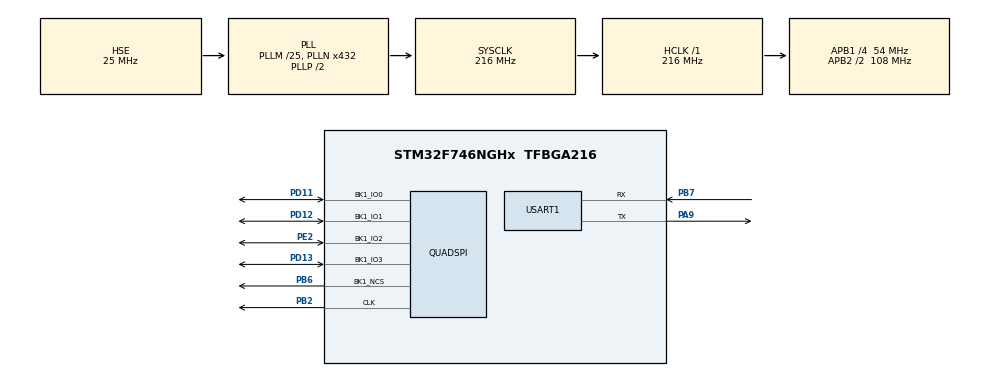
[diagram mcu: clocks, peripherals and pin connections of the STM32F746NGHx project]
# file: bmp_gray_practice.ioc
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CORTEX_M7.default_mode_Activation=1
Dma.Request0=USART1_RX
Dma.Request1=USART1_TX
Dma.USART1_RX.0.Direction=DMA_PERIPH_TO_MEMORY
Dma.USART1_RX.0.FIFOMode=DMA_FIFOMODE_DISABLE
Dma.USART1_RX.0.Instance=DMA2_Stream2
Dma.USART1_RX.0.MemDataAlignment=DMA_MDATAALIGN_BYTE
Dma.USART1_RX.0.MemInc=DMA_MINC_ENABLE
Dma.USART1_RX.0.Mode=DMA_CIRCULAR
Dma.USART1_RX.0.PeriphDataAlignment=DMA_PDATAALIGN_BYTE
Dma.USART1_RX.0.PeriphInc=DMA_PINC_DISABLE
Dma.USART1_RX.0.Priority=DMA_PRIORITY_LOW
Dma.USART1_TX.1.Direction=DMA_MEMORY_TO_PERIPH
Dma.USART1_TX.1.FIFOMode=DMA_FIFOMODE_DISABLE
Dma.USART1_TX.1.Instance=DMA2_Stream7
Dma.USART1_TX.1.MemDataAlignment=DMA_MDATAALIGN_BYTE
Dma.USART1_TX.1.MemInc=DMA_MINC_ENABLE
Dma.USART1_TX.1.Mode=DMA_NORMAL
Dma.USART1_TX.1.PeriphDataAlignment=DMA_PDATAALIGN_BYTE
Dma.USART1_TX.1.PeriphInc=DMA_PINC_DISABLE
Dma.USART1_TX.1.Priority=DMA_PRIORITY_LOW
Mcu.Family=STM32F7
Mcu.Name=STM32F746NGHx
Mcu.Package=TFBGA216
NVIC.DMA2_Stream2_IRQn=true\:0\:0\:false\:false\:true\:false\:true\:true
NVIC.DMA2_Stream7_IRQn=true\:0\:0\:false\:false\:true\:false\:true\:true
NVIC.PriorityGroup=NVIC_PRIORITYGROUP_4
NVIC.USART1_IRQn=true\:0\:0\:false\:false\:true\:true\:true\:true
PA13.Mode=Serial_Wire
PA13.Signal=SYS_JTMS-SWDIO
PA14.Mode=Serial_Wire
PA14.Signal=SYS_JTCK-SWCLK
PA9.Mode=Asynchronous
PA9.Signal=USART1_TX
PB2.Mode=Single Bank 1
PB2.Signal=QUADSPI_CLK
PB6.Mode=Single Bank 1
PB6.Signal=QUADSPI_BK1_NCS
PB7.Mode=Asynchronous
PB7.Signal=USART1_RX
PD11.Mode=Single Bank 1
PD11.Signal=QUADSPI_BK1_IO0
PD12.Mode=Single Bank 1
PD12.Signal=QUADSPI_BK1_IO1
PD13.Mode=Single Bank 1
PD13.Signal=QUADSPI_BK1_IO3
PE2.Mode=Single Bank 1
PE2.Signal=QUADSPI_BK1_IO2
PH0/OSC_IN.Mode=HSE-External-Oscillator
PH0/OSC_IN.Signal=RCC_OSC_IN
PH1/OSC_OUT.Mode=HSE-External-Oscillator
PH1/OSC_OUT.Signal=RCC_OSC_OUT
ProjectManager.HeapSize=0x200
ProjectManager.StackSize=0x400
ProjectManager.TargetToolchain=CMake
QUADSPI.ChipSelectHighTime=QSPI_CS_HIGH_TIME_8_CYCLE
QUADSPI.ClockPrescaler=26
QUADSPI.FifoThreshold=4
QUADSPI.FlashSize=23
QUADSPI.SampleShifting=QSPI_SAMPLE_SHIFTING_HALFCYCLE
RCC.AHBFreq_Value=216000000
RCC.APB1CLKDivider=RCC_HCLK_DIV4
RCC.APB1Freq_Value=54000000
RCC.APB1TimFreq_Value=108000000
RCC.APB2CLKDivider=RCC_HCLK_DIV2
RCC.APB2Freq_Value=108000000
RCC.APB2TimFreq_Value=216000000
RCC.CortexFreq_Value=216000000
RCC.HCLKFreq_Value=216000000
RCC.HSE_VALUE=25000000
RCC.HSI_VALUE=16000000
RCC.LSE_VALUE=32768
RCC.PLL48CLockSelection=RCC_CLK48SOURCE_PLLSAIP
RCC.PLLI2SN=100
RCC.PLLM=25
RCC.PLLN=432
RCC.PLLQ=9
RCC.PLLSAIN=384
RCC.PLLSAIP=RCC_PLLSAIP_DIV8
RCC.PLLSAIR=5
RCC.PLLSAIRDiv=RCC_PLLSAIDIVR_8
RCC.PLLSourceVirtual=RCC_PLLSOURCE_HSE
RCC.SDMMCClockSelection=RCC_SDMMC1CLKSOURCE_CLK48
RCC.SYSCLKFreq_VALUE=216000000
RCC.SYSCLKSource=RCC_SYSCLKSOURCE_PLLCLK
RCC.USBFreq_Value=48000000
RCC.VCOOutputFreq_Value=432000000
USART1.VirtualMode-Asynchronous=VM_ASYNC
board=STM32F746G-DISCO

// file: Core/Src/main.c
/* USER CODE BEGIN Header */
/**
  ******************************************************************************
  * @file           : main.c
  * @brief          : Main program body
  ******************************************************************************
  * @attention
  *
  * Copyright (c) 2026 STMicroelectronics.
  * All rights reserved.
  *
  * This software is licensed under terms that can be found in the LICENSE file
  * in the root directory of this software component.
  * If no LICENSE file comes with this software, it is provided AS-IS.
  *
  ******************************************************************************
  */
/* USER CODE END Header */
#include "main.h"

/* USER CODE BEGIN Includes */
#include "qspi_flash.h"
#include "uart_commands.h"
/* USER CODE END Includes */

QSPI_HandleTypeDef hqspi;

UART_HandleTypeDef huart1;
DMA_HandleTypeDef hdma_usart1_rx;
DMA_HandleTypeDef hdma_usart1_tx;

void SystemClock_Config(void);
static void MPU_Config(void);
static void MX_GPIO_Init(void);
static void MX_DMA_Init(void);
static void MX_USART1_UART_Init(void);
static void MX_QUADSPI_Init(void);

int main(void)
{

  /* MPU Configuration--------------------------------------------------------*/
  MPU_Config();

  /* MCU Configuration--------------------------------------------------------*/

  /* Reset of all peripherals, Initializes the Flash interface and the Systick. */
  HAL_Init();

  /* Configure the system clock */
  SystemClock_Config();

  /* USER CODE BEGIN SysInit */
  /* Permit only the QSPI peripheral register window through the MPU guard.
     Keep this in USER CODE so CubeMX regeneration preserves the setting. */
  MPU_Region_InitTypeDef qspi_region = {0};
  HAL_MPU_Disable();
  qspi_region.Enable = MPU_REGION_ENABLE;
  qspi_region.Number = MPU_REGION_NUMBER1;
  qspi_region.BaseAddress = 0xA0000000U;
  qspi_region.Size = MPU_REGION_SIZE_8KB;
  qspi_region.SubRegionDisable = 0;
  qspi_region.TypeExtField = MPU_TEX_LEVEL0;
  qspi_region.AccessPermission = MPU_REGION_FULL_ACCESS;
  qspi_region.DisableExec = MPU_INSTRUCTION_ACCESS_DISABLE;
  qspi_region.IsShareable = MPU_ACCESS_SHAREABLE;
  qspi_region.IsCacheable = MPU_ACCESS_NOT_CACHEABLE;
  qspi_region.IsBufferable = MPU_ACCESS_BUFFERABLE;
  HAL_MPU_ConfigRegion(&qspi_region);
  HAL_MPU_Enable(MPU_PRIVILEGED_DEFAULT);
  /* USER CODE END SysInit */

  /* Initialize all configured peripherals */
  MX_GPIO_Init();
  MX_DMA_Init();
  MX_USART1_UART_Init();
  MX_QUADSPI_Init();
  /* USER CODE BEGIN 2 */
  /* UART waits sleep in WFI; keep the debugger (Live Watch) attached then. */
  HAL_DBGMCU_EnableDBGSleepMode();
  uint8_t jedec[3] = {0};
  HAL_Delay(10);
  QspiFlash_ReadId(&hqspi, jedec);
  UartCommands_Init(&hqspi, &huart1, jedec);
  /* USER CODE END 2 */

  /* Infinite loop */
  while (1)
  {

    /* USER CODE BEGIN 3 */
    UartCommands_Poll();
  }
  /* USER CODE END 3 */
}

void SystemClock_Config(void)
{
  RCC_OscInitTypeDef RCC_OscInitStruct = {0};
  RCC_ClkInitTypeDef RCC_ClkInitStruct = {0};

  /** Configure the main internal regulator output voltage
  */
  __HAL_RCC_PWR_CLK_ENABLE();
  __HAL_PWR_VOLTAGESCALING_CONFIG(PWR_REGULATOR_VOLTAGE_SCALE1);

  /** Initializes the RCC Oscillators according to the specified parameters
  * in the RCC_OscInitTypeDef structure.
  */
  RCC_OscInitStruct.OscillatorType = RCC_OSCILLATORTYPE_HSE;
  RCC_OscInitStruct.HSEState = RCC_HSE_ON;
  RCC_OscInitStruct.PLL.PLLState = RCC_PLL_ON;
  RCC_OscInitStruct.PLL.PLLSource = RCC_PLLSOURCE_HSE;
  RCC_OscInitStruct.PLL.PLLM = 25;
  RCC_OscInitStruct.PLL.PLLN = 432;
  RCC_OscInitStruct.PLL.PLLP = RCC_PLLP_DIV2;
  RCC_OscInitStruct.PLL.PLLQ = 9;
  if (HAL_RCC_OscConfig(&RCC_OscInitStruct) != HAL_OK)
  {
    Error_Handler();
  }

  /** Activate the Over-Drive mode
  */
  if (HAL_PWREx_EnableOverDrive() != HAL_OK)
  {
    Error_Handler();
  }

  /** Initializes the CPU, AHB and APB buses clocks
  */
  RCC_ClkInitStruct.ClockType = RCC_CLOCKTYPE_HCLK|RCC_CLOCKTYPE_SYSCLK
                              |RCC_CLOCKTYPE_PCLK1|RCC_CLOCKTYPE_PCLK2;
  RCC_ClkInitStruct.SYSCLKSource = RCC_SYSCLKSOURCE_PLLCLK;
  RCC_ClkInitStruct.AHBCLKDivider = RCC_SYSCLK_DIV1;
  RCC_ClkInitStruct.APB1CLKDivider = RCC_HCLK_DIV4;
  RCC_ClkInitStruct.APB2CLKDivider = RCC_HCLK_DIV2;

  if (HAL_RCC_ClockConfig(&RCC_ClkInitStruct, FLASH_LATENCY_7) != HAL_OK)
  {
    Error_Handler();
  }
}

static void MX_QUADSPI_Init(void)
{

  /* QUADSPI parameter configuration*/
  hqspi.Instance = QUADSPI;
  hqspi.Init.ClockPrescaler = 26;
  hqspi.Init.FifoThreshold = 4;
  hqspi.Init.SampleShifting = QSPI_SAMPLE_SHIFTING_HALFCYCLE;
  hqspi.Init.FlashSize = 23;
  hqspi.Init.ChipSelectHighTime = QSPI_CS_HIGH_TIME_8_CYCLE;
  hqspi.Init.ClockMode = QSPI_CLOCK_MODE_0;
  hqspi.Init.FlashID = QSPI_FLASH_ID_1;
  hqspi.Init.DualFlash = QSPI_DUALFLASH_DISABLE;
  if (HAL_QSPI_Init(&hqspi) != HAL_OK)
  {
    Error_Handler();
  }

}

static void MX_USART1_UART_Init(void)
{

  huart1.Instance = USART1;
  huart1.Init.BaudRate = 115200;
  huart1.Init.WordLength = UART_WORDLENGTH_8B;
  huart1.Init.StopBits = UART_STOPBITS_1;
  huart1.Init.Parity = UART_PARITY_NONE;
  huart1.Init.Mode = UART_MODE_TX_RX;
  huart1.Init.HwFlowCtl = UART_HWCONTROL_NONE;
  huart1.Init.OverSampling = UART_OVERSAMPLING_16;
  huart1.Init.OneBitSampling = UART_ONE_BIT_SAMPLE_DISABLE;
  huart1.AdvancedInit.AdvFeatureInit = UART_ADVFEATURE_NO_INIT;
  if (HAL_UART_Init(&huart1) != HAL_OK)
  {
    Error_Handler();
  }

}

static void MX_DMA_Init(void)
{

  /* DMA controller clock enable */
  __HAL_RCC_DMA2_CLK_ENABLE();

  /* DMA interrupt init */
  /* DMA2_Stream2_IRQn interrupt configuration */
  HAL_NVIC_SetPriority(DMA2_Stream2_IRQn, 0, 0);
  HAL_NVIC_EnableIRQ(DMA2_Stream2_IRQn);
  /* DMA2_Stream7_IRQn interrupt configuration */
  HAL_NVIC_SetPriority(DMA2_Stream7_IRQn, 0, 0);
  HAL_NVIC_EnableIRQ(DMA2_Stream7_IRQn);

}

static void MX_GPIO_Init(void)
{

  /* GPIO Ports Clock Enable */
  __HAL_RCC_GPIOE_CLK_ENABLE();
  __HAL_RCC_GPIOA_CLK_ENABLE();
  __HAL_RCC_GPIOB_CLK_ENABLE();
  __HAL_RCC_GPIOH_CLK_ENABLE();
  __HAL_RCC_GPIOD_CLK_ENABLE();

}

 /* MPU Configuration */

void MPU_Config(void)
{
  MPU_Region_InitTypeDef MPU_InitStruct = {0};

  /* Disables the MPU */
  HAL_MPU_Disable();

  /** Initializes and configures the Region and the memory to be protected
  */
  MPU_InitStruct.Enable = MPU_REGION_ENABLE;
  MPU_InitStruct.Number = MPU_REGION_NUMBER0;
  MPU_InitStruct.BaseAddress = 0x0;
  MPU_InitStruct.Size = MPU_REGION_SIZE_4GB;
  MPU_InitStruct.SubRegionDisable = 0x87;
  MPU_InitStruct.TypeExtField = MPU_TEX_LEVEL0;
  MPU_InitStruct.AccessPermission = MPU_REGION_NO_ACCESS;
  MPU_InitStruct.DisableExec = MPU_INSTRUCTION_ACCESS_DISABLE;
  MPU_InitStruct.IsShareable = MPU_ACCESS_SHAREABLE;
  MPU_InitStruct.IsCacheable = MPU_ACCESS_NOT_CACHEABLE;
  MPU_InitStruct.IsBufferable = MPU_ACCESS_NOT_BUFFERABLE;

  HAL_MPU_ConfigRegion(&MPU_InitStruct);
  /* Enables the MPU */
  HAL_MPU_Enable(MPU_PRIVILEGED_DEFAULT);

}

void Error_Handler(void)
{
  __disable_irq();
  while (1)
  {
  }
}
